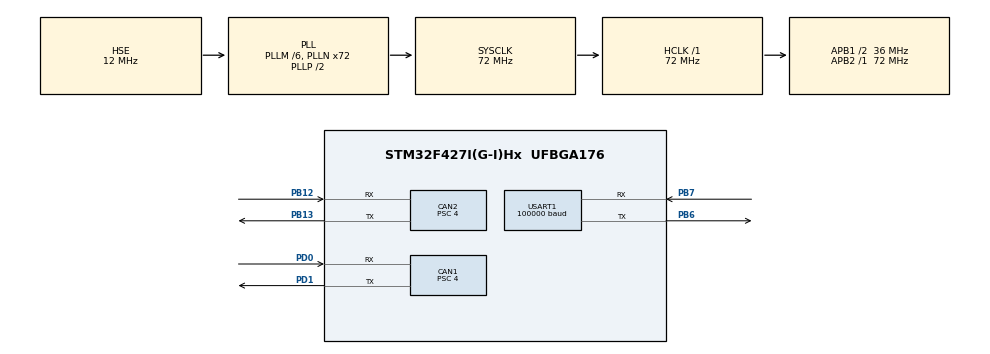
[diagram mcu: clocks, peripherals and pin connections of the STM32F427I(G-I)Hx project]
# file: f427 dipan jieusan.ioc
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CAN1.BS1=CAN_BS1_7TQ
CAN1.CalculateBaudRate=1000000
CAN1.CalculateTimeBit=1000
CAN1.CalculateTimeQuantum=111.11111111111111
CAN1.Prescaler=4
CAN2.BS1=CAN_BS1_7TQ
CAN2.CalculateBaudRate=1000000
CAN2.CalculateTimeBit=1000
CAN2.CalculateTimeQuantum=111.11111111111111
CAN2.Prescaler=4
Dma.Request0=USART1_RX
Dma.USART1_RX.0.Direction=DMA_PERIPH_TO_MEMORY
Dma.USART1_RX.0.FIFOMode=DMA_FIFOMODE_DISABLE
Dma.USART1_RX.0.Instance=DMA2_Stream2
Dma.USART1_RX.0.MemDataAlignment=DMA_MDATAALIGN_BYTE
Dma.USART1_RX.0.MemInc=DMA_MINC_ENABLE
Dma.USART1_RX.0.Mode=DMA_NORMAL
Dma.USART1_RX.0.PeriphDataAlignment=DMA_PDATAALIGN_BYTE
Dma.USART1_RX.0.PeriphInc=DMA_PINC_DISABLE
Dma.USART1_RX.0.Priority=DMA_PRIORITY_VERY_HIGH
Mcu.Family=STM32F4
Mcu.Name=STM32F427I(G-I)Hx
Mcu.Package=UFBGA176
NVIC.CAN1_RX0_IRQn=true\:0\:0\:false\:false\:true\:true\:true\:true
NVIC.CAN2_RX1_IRQn=true\:0\:0\:false\:false\:true\:true\:true\:true
NVIC.DMA2_Stream2_IRQn=true\:0\:0\:false\:false\:true\:false\:true\:true
NVIC.PriorityGroup=NVIC_PRIORITYGROUP_4
NVIC.TIM2_IRQn=true\:0\:0\:false\:false\:true\:true\:true\:true
PA13.Mode=Serial_Wire
PA13.Signal=SYS_JTMS-SWDIO
PA14.Mode=Serial_Wire
PA14.Signal=SYS_JTCK-SWCLK
PB12.Mode=CAN_Activate
PB12.Signal=CAN2_RX
PB13.Mode=CAN_Activate
PB13.Signal=CAN2_TX
PB6.Mode=Asynchronous
PB6.Signal=USART1_TX
PB7.Mode=Asynchronous
PB7.Signal=USART1_RX
PD0.Mode=CAN_Activate
PD0.Signal=CAN1_RX
PD1.Mode=CAN_Activate
PD1.Signal=CAN1_TX
PH0/OSC_IN.Mode=HSE-External-Oscillator
PH0/OSC_IN.Signal=RCC_OSC_IN
PH1/OSC_OUT.Mode=HSE-External-Oscillator
PH1/OSC_OUT.Signal=RCC_OSC_OUT
ProjectManager.HeapSize=0x200
ProjectManager.StackSize=0x400
ProjectManager.TargetToolchain=MDK-ARM V5
RCC.48MHZClocksFreq_Value=36000000
RCC.AHBFreq_Value=72000000
RCC.APB1CLKDivider=RCC_HCLK_DIV2
RCC.APB1Freq_Value=36000000
RCC.APB1TimFreq_Value=72000000
RCC.APB2Freq_Value=72000000
RCC.APB2TimFreq_Value=72000000
RCC.CortexFreq_Value=72000000
RCC.HCLKFreq_Value=72000000
RCC.HSE_VALUE=12000000
RCC.HSI_VALUE=16000000
RCC.LSE_VALUE=32768
RCC.PLLM=6
RCC.PLLN=72
RCC.PLLSourceVirtual=RCC_PLLSOURCE_HSE
RCC.SYSCLKFreq_VALUE=72000000
RCC.SYSCLKSource=RCC_SYSCLKSOURCE_PLLCLK
RCC.VCOOutputFreq_Value=144000000
TIM2.AutoReloadPreload=TIM_AUTORELOAD_PRELOAD_ENABLE
TIM2.Period=99
TIM2.Prescaler=7199
USART1.BaudRate=100000
USART1.Parity=PARITY_EVEN
USART1.VirtualMode=VM_ASYNC
USART1.WordLength=WORDLENGTH_9B
VP_TIM2_VS_ClockSourceINT.Mode=Internal
board=custom

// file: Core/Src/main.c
/* USER CODE BEGIN Header */
/**
  ******************************************************************************
  * @file           : main.c
  * @brief          : Main program body
  ******************************************************************************
  * @attention
  *
  * Copyright (c) 2024 STMicroelectronics.
  * All rights reserved.
  *
  * This software is licensed under terms that can be found in the LICENSE file
  * in the root directory of this software component.
  * If no LICENSE file comes with this software, it is provided AS-IS.
  *
  ******************************************************************************
  */
/* USER CODE END Header */
#include "main.h"
#include "can.h"
#include "dma.h"
#include "tim.h"
#include "usart.h"
#include "gpio.h"

/* USER CODE BEGIN Includes */
#include "can_user.h"
#include "pid.h"
#include "dipan_control.h"
#include "yaokong.h"
#include "dipan_gensui.h"
#include "bodan.h"
/* USER CODE END Includes */

/* USER CODE BEGIN PD */
motor_recieve motor_recieve_dipan3508[4];
motor_recieve motor_recieve_yuntai6020[2];
motor_recieve motor_recieve_yuntai3508[3];
RC_Ctl_t RC_Ctl;   					//声明遥控器数据结构体
uint8_t sbus_rx_buffer[18]; 		//声明遥控器接收缓存数组
int8_t yaokongjishi=10;            //声明遥控器一直未接收到数据时的计数
extern int16_t dipan_speedtarget[4];
extern int16_t yuntai_angletarget[2];
extern int16_t yuntai_speed_target[3];

uint16_t a =50;
uint16_t* bodan_target_angle = &a;

/* USER CODE END PD */

/* USER CODE BEGIN PV */

	int16_t TongDao0 = 0;               //声明一个变量，用于一个通道调试

/* USER CODE END PV */

void SystemClock_Config(void);

int main(void)
{

  /* MCU Configuration--------------------------------------------------------*/

  /* Reset of all peripherals, Initializes the Flash interface and the Systick. */
  HAL_Init();

  /* Configure the system clock */
  SystemClock_Config();

  /* Initialize all configured peripherals */
  MX_GPIO_Init();
  MX_DMA_Init();
  MX_CAN1_Init();
  MX_USART1_UART_Init();
  MX_CAN2_Init();
  MX_TIM2_Init();
  /* USER CODE BEGIN 2 */
	HAL_TIM_Base_Start_IT(&htim2);
	HAL_CAN_Start(&hcan1);
	HAL_CAN_Start(&hcan2);
	can_filter_init();
	can_filter2_init();

	HAL_UARTEx_ReceiveToIdle_DMA(&huart1,sbus_rx_buffer,18);
	__HAL_DMA_DISABLE_IT(huart1.hdmarx ,DMA_IT_HT );  //防止接收到一半就停止，跟上一句一定要配套写

  /* USER CODE END 2 */

  /* Infinite loop */
  while (1)
  {

    /* USER CODE BEGIN 3 */

	 dipan_speed_jiesuan(RC_Ctl);
	// dipan_gensui();

	//  zhuangdan(bodan_target_angle,yuntai_speed_target);

	  CAN_cmd_angle_6020motor(yuntai_angletarget,motor_recieve_yuntai6020);
	  CAN_cmd_speed_3508motor(dipan_speedtarget,motor_recieve_dipan3508);

	 HAL_Delay(2);
  }
  /* USER CODE END 3 */
}

void SystemClock_Config(void)
{
  RCC_OscInitTypeDef RCC_OscInitStruct = {0};
  RCC_ClkInitTypeDef RCC_ClkInitStruct = {0};

  /** Configure the main internal regulator output voltage
  */
  __HAL_RCC_PWR_CLK_ENABLE();
  __HAL_PWR_VOLTAGESCALING_CONFIG(PWR_REGULATOR_VOLTAGE_SCALE3);

  /** Initializes the RCC Oscillators according to the specified parameters
  * in the RCC_OscInitTypeDef structure.
  */
  RCC_OscInitStruct.OscillatorType = RCC_OSCILLATORTYPE_HSE;
  RCC_OscInitStruct.HSEState = RCC_HSE_ON;
  RCC_OscInitStruct.PLL.PLLState = RCC_PLL_ON;
  RCC_OscInitStruct.PLL.PLLSource = RCC_PLLSOURCE_HSE;
  RCC_OscInitStruct.PLL.PLLM = 6;
  RCC_OscInitStruct.PLL.PLLN = 72;
  RCC_OscInitStruct.PLL.PLLP = RCC_PLLP_DIV2;
  RCC_OscInitStruct.PLL.PLLQ = 4;
  if (HAL_RCC_OscConfig(&RCC_OscInitStruct) != HAL_OK)
  {
    Error_Handler();
  }

  /** Initializes the CPU, AHB and APB buses clocks
  */
  RCC_ClkInitStruct.ClockType = RCC_CLOCKTYPE_HCLK|RCC_CLOCKTYPE_SYSCLK
                              |RCC_CLOCKTYPE_PCLK1|RCC_CLOCKTYPE_PCLK2;
  RCC_ClkInitStruct.SYSCLKSource = RCC_SYSCLKSOURCE_PLLCLK;
  RCC_ClkInitStruct.AHBCLKDivider = RCC_SYSCLK_DIV1;
  RCC_ClkInitStruct.APB1CLKDivider = RCC_HCLK_DIV2;
  RCC_ClkInitStruct.APB2CLKDivider = RCC_HCLK_DIV1;

  if (HAL_RCC_ClockConfig(&RCC_ClkInitStruct, FLASH_LATENCY_2) != HAL_OK)
  {
    Error_Handler();
  }
}

void Error_Handler(void)
{
  __disable_irq();
  while (1)
  {
  }
}
